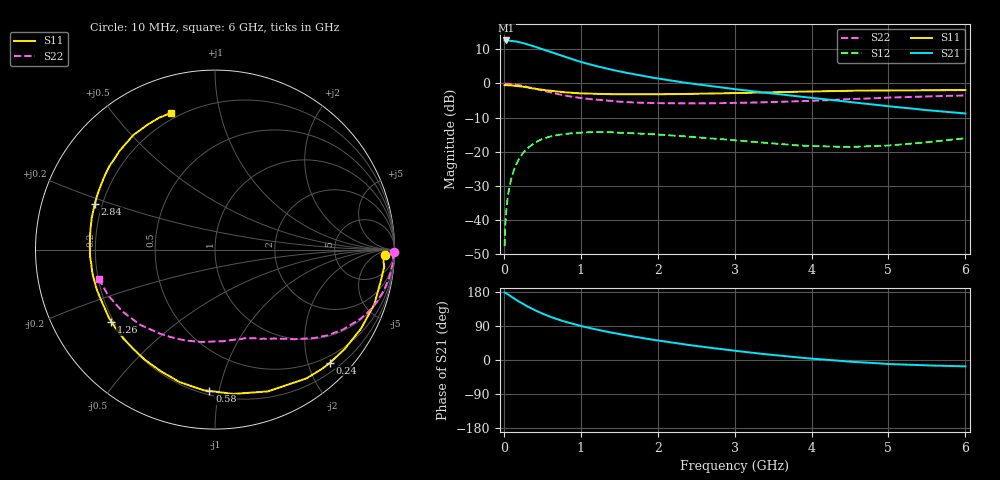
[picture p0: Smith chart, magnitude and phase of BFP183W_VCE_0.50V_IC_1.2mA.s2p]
! Infineon Technologies  Discrete & RF Semiconductors
! BFP183W
! VCE = 0.50V,  IC =  1.2 mA
! Common Emitter S-Parameters:  Jan 2016
# GHz  S  MA  R  50
!  f  S11  S21  S12  S22
! GHz  MAG  ANG  MAG  ANG  MAG  ANG  MAG  ANG
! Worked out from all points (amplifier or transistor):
!   210 points, 10 MHz to 6 GHz, reference 50 ohm
!   highest |S21| = 12.6 dB at 30 MHz (marker M1)
!   |S21| within 3 dB of that: start of sweep to 554.7 MHz
!   unconditionally stable (mu >= 1): 2.43 GHz to end of sweep
!   at 185 MHz: K = 0.09, MSG = 17.4 dB, |S12| = -22.7 dB
!   at 1.52 GHz: K = 0.64, MSG = 9.0 dB, |S12| = -14.5 dB
!   at 6 GHz: K = 1.52, MAG = -0.6 dB, |S12| = -16.1 dB
!   S11 on the Smith chart (normalised r, x): 10 MHz: 27, -16; 240 MHz: 0.37, -2.40; 580 MHz: 0.23, -0.93; 1.26 GHz: 0.19, -0.30; 2.84 GHz: 0.17, +0.18; 6 GHz: 0.17, +0.72
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0.01  0.947 -1.9  4.239 178.1  0.0041 89.8  0.9969 -0.9
0.02  0.9409 -3.8  4.269 177.5  0.0087 87.1  0.9902 -1.9
0.03  0.9477 -5.8  4.278 176.3  0.0129 88.7  0.9946 -2.8
0.06  0.9393 -11.5  4.252 172.2  0.025 82.1  0.9897 -5.6
0.1  0.9383 -18.9  4.208 166.8  0.0413 78.1  0.9827 -9.3
0.175  0.9147 -33.0  4.093 156.9  0.07 69.4  0.9566 -15.9
0.24  0.8989 -44.5  3.941 149.3  0.0925 62.7  0.9273 -21.3
0.3  0.8801 -54.6  3.767 142.0  0.1106 57.0  0.8961 -25.6
0.4  0.843 -69.6  3.486 131.7  0.1347 48.2  0.8399 -32.1
0.5  0.8105 -82.8  3.187 122.3  0.1531 41.0  0.7884 -37.3
0.58  0.7879 -92.3  2.961 116.0  0.1634 35.6  0.7488 -40.9
0.7  0.7636 -105.1  2.672 107.2  0.1756 29.4  0.6996 -45.2
0.8  0.7416 -114.1  2.443 100.8  0.1821 24.4  0.6637 -48.8
1.02  0.7146 -130.7  2.044 89.0  0.1904 16.0  0.608 -54.7
1.26  0.7031 -145.1  1.736 78.0  0.1933 8.7  0.5705 -60.5
1.6  0.6952 -161.4  1.431 64.7  0.1883 1.6  0.5348 -67.5
2.02  0.6967 -177.1  1.174 50.9  0.1778 -4.5  0.5146 -76.3
2.84  0.7167 159.1  0.869 28.3  0.1521 -10.7  0.5152 -94.2
3.1  0.7262 152.7  0.801 22.1  0.1436 -10.9  0.5211 -100.3
4.1  0.7676 132.2  0.599 2.2  0.12 -2.4  0.5625 -124.9
5.1  0.7919 117.3  0.451 -11.3  0.1256 12.8  0.6246 -148.5
6  0.8002 107.7  0.363 -16.8  0.1571 20.7  0.668 -165.9
